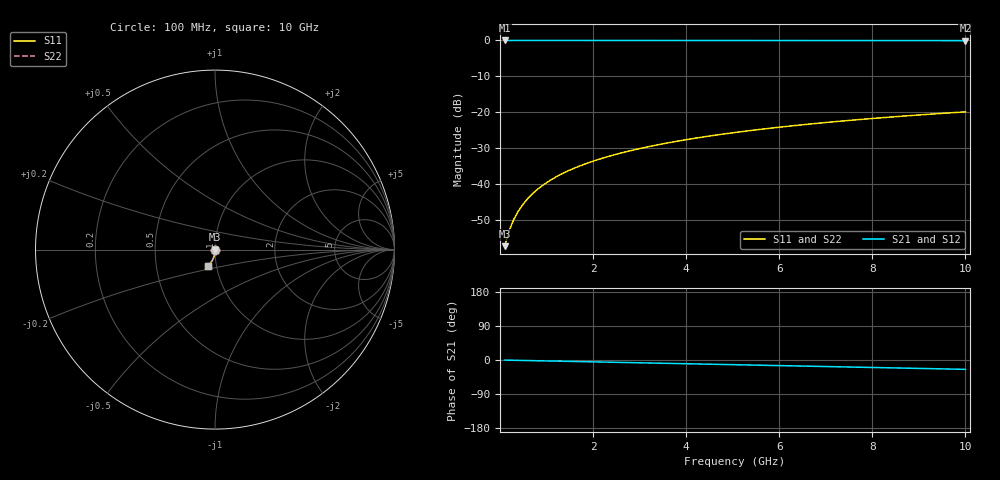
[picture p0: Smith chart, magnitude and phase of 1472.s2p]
# Hz S RI R 50.00
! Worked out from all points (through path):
!   100 points, 100 MHz to 10 GHz, reference 50 ohm
!   highest |S21| = -0.01 dB at 100 MHz (marker M1); lowest = -0.1 dB at 10 GHz (marker M2)
!   group delay of S21, straight-line fit = 6.85 ps
!   lowest |S11| = -57.4 dB at 100 MHz (marker M3), VSWR 1.00, Z = 50.1 - j0.104 ohm
!   |S11| at or under -10 dB: start of sweep to end of sweep
!   |S22| runs from -57.4 to -19.9 dB; largest |S21 - S12| = 0
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1e8  0.000869 -0.00104  0.9991 -0.00429  0.9991 -0.00429  0.000869 -0.00104
2e8  0.000859 -0.00208  0.9991 -0.00857  0.9991 -0.00857  0.000859 -0.00208
3e8  0.000838 -0.00312  0.999 -0.0129  0.999 -0.0129  0.000838 -0.00312
4e8  0.000808 -0.00415  0.9989 -0.0171  0.9989 -0.0171  0.000808 -0.00415
5e8  0.000769 -0.00519  0.9989 -0.0214  0.9989 -0.0214  0.000769 -0.00519
6e8  0.00072 -0.00623  0.9987 -0.0257  0.9987 -0.0257  0.00072 -0.00623
7e8  0.000662 -0.00727  0.9986 -0.03  0.9986 -0.03  0.000662 -0.00727
8e8  0.000595 -0.0083  0.9985 -0.0343  0.9985 -0.0343  0.000595 -0.0083
9e8  0.000519 -0.00934  0.9983 -0.0386  0.9983 -0.0386  0.000519 -0.00934
1.1e9  0.00034 -0.0114  0.9979 -0.0471  0.9979 -0.0471  0.00034 -0.0114
1.4e9  4.27e-06 -0.0145  0.9971 -0.06  0.9971 -0.06  4.27e-06 -0.0145
1.8e9  -0.000568 -0.0186  0.9959 -0.0771  0.9959 -0.0771  -0.000568 -0.0186
2.1e9  -0.00109 -0.0217  0.9947 -0.0899  0.9947 -0.0899  -0.00109 -0.0217
2.5e9  -0.00191 -0.0258  0.9929 -0.107  0.9929 -0.107  -0.00191 -0.0258
2.9e9  -0.00287 -0.0299  0.9908 -0.124  0.9908 -0.124  -0.00287 -0.0299
3.4e9  -0.00427 -0.0349  0.9877 -0.1453  0.9877 -0.1453  -0.00427 -0.0349
4.2e9  -0.00695 -0.0428  0.9818 -0.1791  0.9818 -0.1791  -0.00695 -0.0428
5.1e9  -0.0106 -0.0515  0.9737 -0.2169  0.9737 -0.2169  -0.0106 -0.0515
5.9e9  -0.0144 -0.0589  0.9651 -0.2502  0.9651 -0.2502  -0.0144 -0.0589
6.7e9  -0.0187 -0.0661  0.9554 -0.2831  0.9554 -0.2831  -0.0187 -0.0661
8.4e9  -0.0295 -0.0803  0.9308 -0.3518  0.9308 -0.3518  -0.0295 -0.0803
1e10  -0.0414 -0.092  0.903 -0.4145  0.903 -0.4145  -0.0414 -0.092
